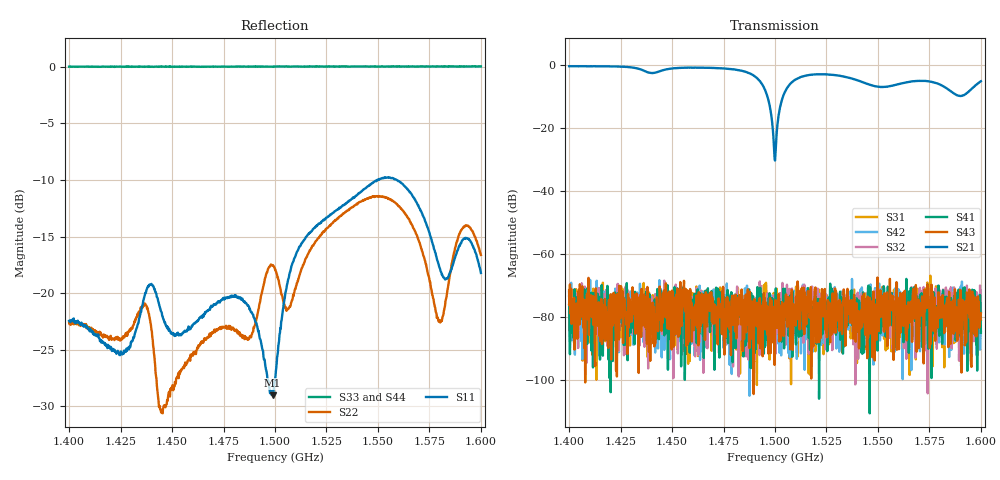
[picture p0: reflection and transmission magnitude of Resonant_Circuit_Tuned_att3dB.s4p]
#  HZ  S  DB  R  50.00
! Rohde & Schwarz Vector Network Analyzer
! Rohde-Schwarz,ZNB8-4Port,1311601044102961,2.82
! Created: UTC 1/17/2019, 3:50:38 PM
! freq[Hz]  db:S11  ang:S11  db:S12  ang:S12  db:S13  ang:S13  db:S14  ang:S14
!  db:S21  ang:S21  db:S22  ang:S22  db:S23  ang:S23  db:S24  ang:S24
!  db:S31  ang:S31  db:S32  ang:S32  db:S33  ang:S33  db:S34  ang:S34
!  db:S41  ang:S41  db:S42  ang:S42  db:S43  ang:S43  db:S44  ang:S44
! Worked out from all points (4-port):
!   1001 points, 1.4 GHz to 1.6 GHz, reference 50 ohm
!   strongest paths, dB at 1.4 GHz, 1.45 GHz, 1.5 GHz, 1.55 GHz, 1.6 GHz:
!     S21: -0.4, -1.1, -30.3, -6.9, -5.2
!     S43: -71.6, -71.6, -80.4, -76.1, -78.9
!     S41: -72.2, -83.4, -83.7, -85.1, -85.1
!     S32: -78.4, -77.7, -78.4, -78.1, -78.1
!     S42: -73.6, -84.1, -79.9, -82.5, -84.5
!     S31: -76.2, -75.0, -80.1, -76.8, -81.0
!   lowest |S11| = -29.0 dB at 1.499 GHz (marker M1), VSWR 1.07, Z = 46.6 + j0.351 ohm
!   |S11| at or under -10 dB: start of sweep to 1.55 GHz; 1.549669 GHz to 1.549885 GHz (216.6 kHz wide, 0.014 % of centre); 1.559 GHz to end of sweep
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1.4e9  -22.46 134.5  -0.42 37.8  -73.58 -8.2  -84.56 8.1
       -0.38 37.6  -22.60 112.2  -83.82 -18.1  -77.20 -138.1
       -76.20 119.5  -78.36 113.2  0.02 9.9  -75.14 179.0
       -72.17 -92.8  -73.57 169.3  -71.65 -90.4  -0.11 9.7
1.4686e9  -21.26 -163.8  -0.89 -78.8  -74.15 -134.9  -78.70 96.1
          -0.89 -79.0  -23.58 -164.4  -76.35 65.8  -82.21 55.7
          -73.11 93.2  -79.74 -140.6  0.02 10.4  -76.48 151.5
          -80.31 -52.7  -75.76 13.3  -76.52 -73.5  -0.08 10.3
1.4988e9  -29.03 173.9  -19.56 138.9  -79.70 -7.4  -81.99 134.5
          -19.43 138.3  -17.53 148.2  -75.56 177.8  -91.71 138.1
          -76.48 134.9  -79.42 177.4  0.01 10.5  -76.09 73.4
          -81.12 41.0  -78.03 -35.1  -82.10 -148.7  -0.09 10.4
1.543e9  -10.86 -17.4  -5.57 94.8  -80.41 -170.3  -82.20 -36.0
         -5.54 94.6  -11.83 0.1  -78.41 118.4  -79.51 116.5
         -82.48 179.7  -77.27 34.2  0.05 11.0  -78.47 102.2
         -76.91 -49.7  -74.68 65.7  -79.68 134.0  -0.08 10.8
1.5662e9  -11.22 -179.6  -5.27 -99.0  -76.43 -100.1  -75.33 -143.2
          -5.24 -99.3  -13.87 -175.6  -76.84 -169.3  -81.09 66.5
          -76.20 -30.8  -73.16 67.4  0.04 11.2  -76.22 -152.9
          -77.40 11.4  -96.92 137.1  -81.25 47.2  -0.08 10.9
1.587e9  -17.12 140.3  -9.08 98.0  -75.20 153.3  -80.31 162.7
         -9.07 97.6  -16.39 162.8  -77.15 151.0  -80.57 151.0
         -85.23 39.2  -70.60 131.8  0.04 11.3  -111.87 -134.3
         -73.35 62.0  -77.03 8.6  -80.39 35.8  -0.08 11.1
1.6e9  -18.22 72.1  -5.17 -61.7  -78.12 161.2  -76.51 70.1
       -5.15 -61.9  -16.63 81.1  -78.85 -81.0  -77.85 -75.4
       -80.95 -13.3  -78.09 -119.3  0.04 11.6  -83.29 -158.4
       -85.06 -161.2  -84.53 0.2  -78.86 -10.1  -0.09 11.3
